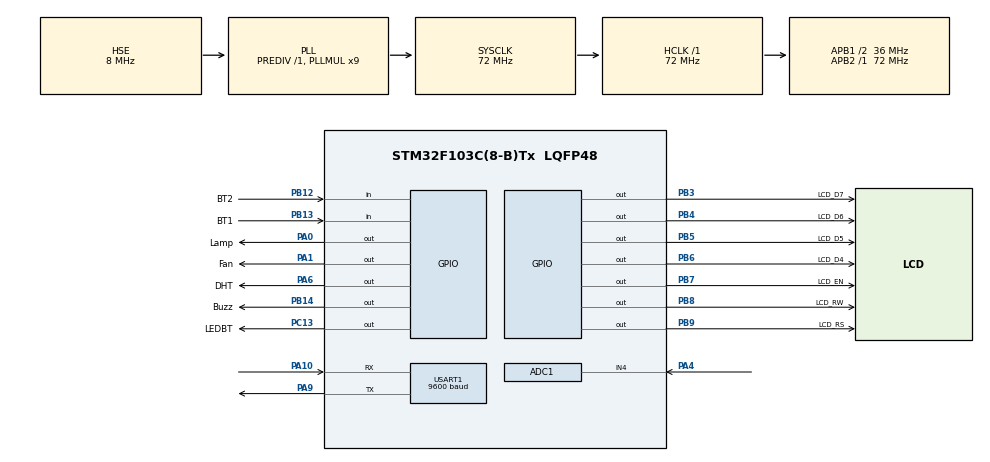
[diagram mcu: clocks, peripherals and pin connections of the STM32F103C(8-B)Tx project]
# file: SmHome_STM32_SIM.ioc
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ADC1.Channel-0\#ChannelRegularConversion=ADC_CHANNEL_4
ADC1.NbrOfConversionFlag=1
ADC1.Rank-0\#ChannelRegularConversion=1
ADC1.SamplingTime-0\#ChannelRegularConversion=ADC_SAMPLETIME_1CYCLE_5
ADC1.master=1
Mcu.Family=STM32F1
Mcu.Name=STM32F103C(8-B)Tx
Mcu.Package=LQFP48
NVIC.PriorityGroup=NVIC_PRIORITYGROUP_4
NVIC.USART1_IRQn=true\:0\:0\:false\:false\:true\:true\:true\:true
PA0-WKUP.GPIO_Label=Lamp
PA0-WKUP.Signal=GPIO_Output
PA1.GPIO_Label=Fan
PA1.Signal=GPIO_Output
PA10.Mode=Asynchronous
PA10.Signal=USART1_RX
PA13.Mode=Serial_Wire
PA13.Signal=SYS_JTMS-SWDIO
PA14.Mode=Serial_Wire
PA14.Signal=SYS_JTCK-SWCLK
PA4.Signal=ADCx_IN4
PA6.GPIO_Label=DHT
PA6.Signal=GPIO_Output
PA9.Mode=Asynchronous
PA9.Signal=USART1_TX
PB12.GPIO_Label=BT2
PB12.Signal=GPIO_Input
PB13.GPIO_Label=BT1
PB13.Signal=GPIO_Input
PB14.GPIO_Label=Buzz
PB14.Signal=GPIO_Output
PB3.GPIO_Label=LCD_D7
PB3.Signal=GPIO_Output
PB4.GPIO_Label=LCD_D6
PB4.Signal=GPIO_Output
PB5.GPIO_Label=LCD_D5
PB5.Signal=GPIO_Output
PB6.GPIO_Label=LCD_D4
PB6.Signal=GPIO_Output
PB7.GPIO_Label=LCD_EN
PB7.Signal=GPIO_Output
PB8.GPIO_Label=LCD_RW
PB8.Signal=GPIO_Output
PB9.GPIO_Label=LCD_RS
PB9.Signal=GPIO_Output
PC13-TAMPER-RTC.GPIO_Label=LEDBT
PC13-TAMPER-RTC.Signal=GPIO_Output
PD0-OSC_IN.Mode=HSE-External-Oscillator
PD0-OSC_IN.Signal=RCC_OSC_IN
PD1-OSC_OUT.Mode=HSE-External-Oscillator
PD1-OSC_OUT.Signal=RCC_OSC_OUT
ProjectManager.HeapSize=0x200
ProjectManager.StackSize=0x400
ProjectManager.TargetToolchain=MDK-ARM V5.32
RCC.ADCPresc=RCC_ADCPCLK2_DIV6
RCC.AHBFreq_Value=72000000
RCC.APB1CLKDivider=RCC_HCLK_DIV2
RCC.APB1Freq_Value=36000000
RCC.APB1TimFreq_Value=72000000
RCC.APB2Freq_Value=72000000
RCC.APB2TimFreq_Value=72000000
RCC.HCLKFreq_Value=72000000
RCC.PLLMUL=RCC_PLL_MUL9
RCC.PLLSourceVirtual=RCC_PLLSOURCE_HSE
RCC.SYSCLKFreq_VALUE=72000000
RCC.SYSCLKSource=RCC_SYSCLKSOURCE_PLLCLK
RCC.USBFreq_Value=72000000
SH.ADCx_IN4.0=ADC1_IN4,IN4
TIM3.Period=65535
TIM3.Prescaler=72
USART1.BaudRate=9600
USART1.VirtualMode=VM_ASYNC
VP_TIM3_VS_ClockSourceINT.Mode=Internal
board=custom

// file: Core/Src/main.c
/* USER CODE BEGIN Header */
/**
  ******************************************************************************
  * @file           : main.c
  * @brief          : Main program body
  ******************************************************************************
  * @attention
  *
  * Copyright (c) 2024 STMicroelectronics.
  * All rights reserved.
  *
  * This software is licensed under terms that can be found in the LICENSE file
  * in the root directory of this software component.
  * If no LICENSE file comes with this software, it is provided AS-IS.
  *
  ******************************************************************************
  */
/* USER CODE END Header */
#include "main.h"

/* USER CODE BEGIN Includes */
#include "dwt_delay.h"
#include "LCD1602.h"
#include "stdio.h"
#include "string.h"
#include "stdint.h"
#include "sim808.h"
/* USER CODE END Includes */

 ADC_HandleTypeDef hadc1;

TIM_HandleTypeDef htim3;

UART_HandleTypeDef huart1;

void SystemClock_Config(void);
static void MX_GPIO_Init(void);
static void MX_ADC1_Init(void);
static void MX_TIM3_Init(void);
static void MX_USART1_UART_Init(void);
/* USER CODE BEGIN PFP */

char str_gas[10];
char str_temp[10];
char str_humi[10];
float percentage_gas;
/* USER CODE END PFP */

/* USER CODE BEGIN 0 */

void delay (uint16_t time)
{
	/* change your code here for the delay in microseconds */
	__HAL_TIM_SET_COUNTER(&htim3, 0);
	while ((__HAL_TIM_GET_COUNTER(&htim3))<time);
}

void beep(cnt)
{
	for(int i=0;i<cnt;i++)
	{
		HAL_GPIO_WritePin(Buzz_GPIO_Port,Buzz_Pin,1);
		HAL_Delay(150);
		HAL_GPIO_WritePin(Buzz_GPIO_Port,Buzz_Pin,0);
		HAL_Delay(150);
	}
}

uint8_t Rh_byte1, Rh_byte2, Temp_byte1, Temp_byte2;
uint16_t SUM, RH, TEMP;

float Temperature = 0;
float Humidity = 0;
uint8_t Presence = 0;

void Set_Pin_Output (GPIO_TypeDef *GPIOx, uint16_t GPIO_Pin)
{
	GPIO_InitTypeDef GPIO_InitStruct = {0};
	GPIO_InitStruct.Pin = GPIO_Pin;
	GPIO_InitStruct.Mode = GPIO_MODE_OUTPUT_PP;
	GPIO_InitStruct.Speed = GPIO_SPEED_FREQ_LOW;
	HAL_GPIO_Init(GPIOx, &GPIO_InitStruct);
}

void Set_Pin_Input (GPIO_TypeDef *GPIOx, uint16_t GPIO_Pin)
{
	GPIO_InitTypeDef GPIO_InitStruct = {0};
	GPIO_InitStruct.Pin = GPIO_Pin;
	GPIO_InitStruct.Mode = GPIO_MODE_INPUT;
	GPIO_InitStruct.Pull = GPIO_PULLUP;
	HAL_GPIO_Init(GPIOx, &GPIO_InitStruct);
}

//////////////////////////////////////////////////////////////////////////////////////////////////////
//----DHT11

#define DHT11_PORT GPIOB
#define DHT11_PIN GPIO_PIN_11

void DHT11_Start (void)
{
	Set_Pin_Output (DHT11_PORT, DHT11_PIN);  // set the pin as output
	HAL_GPIO_WritePin (DHT11_PORT, DHT11_PIN, 0);   // pull the pin low
	delay (18000);   // wait for 18ms
    HAL_GPIO_WritePin (DHT11_PORT, DHT11_PIN, 1);   // pull the pin high
	delay (20);   // wait for 20us
	Set_Pin_Input(DHT11_PORT, DHT11_PIN);    // set as input
}

uint8_t DHT11_Check_Response (void)
{
	uint8_t Response = 0;
	delay (40);
	if (!(HAL_GPIO_ReadPin (DHT11_PORT, DHT11_PIN)))
	{
		delay (80);
		if ((HAL_GPIO_ReadPin (DHT11_PORT, DHT11_PIN))) Response = 1;
		else Response = -1; // 255
	}
	while ((HAL_GPIO_ReadPin (DHT11_PORT, DHT11_PIN)));   // wait for the pin to go low

	return Response;
}

uint8_t DHT11_Read (void)
{
	uint8_t i,j;
	for (j=0;j<8;j++)
	{
		while (!(HAL_GPIO_ReadPin (DHT11_PORT, DHT11_PIN)));   // wait for the pin to go high
		delay (40);   // wait for 40 us
		if (!(HAL_GPIO_ReadPin (DHT11_PORT, DHT11_PIN)))   // if the pin is low
		{
			i&= ~(1<<(7-j));   // write 0
		}
		else i|= (1<<(7-j));  // if the pin is high, write 1
		while ((HAL_GPIO_ReadPin (DHT11_PORT, DHT11_PIN)));  // wait for the pin to go low
	}
	return i;
}
//////////////////////////////////////////////////////////////////////////////////////////////////////
//----DHT22

#define DHT22_PORT GPIOB
#define DHT22_PIN GPIO_PIN_11

void DHT22_Start (void)
{
	Set_Pin_Output(DHT22_PORT, DHT22_PIN); // set the pin as output
	HAL_GPIO_WritePin (DHT22_PORT, DHT22_PIN, 0);   // pull the pin low
	delay(1200);   // wait for > 1ms

	HAL_GPIO_WritePin (DHT22_PORT, DHT22_PIN, 1);   // pull the pin high
	delay (20);   // wait for 30us

	Set_Pin_Input(DHT22_PORT, DHT22_PIN);   // set as input
}

uint8_t DHT22_Check_Response (void)
{
	Set_Pin_Input(DHT22_PORT, DHT22_PIN);   // set as input
	uint8_t Response = 0;
	delay (40);  // wait for 40us
	if (!(HAL_GPIO_ReadPin (DHT22_PORT, DHT22_PIN))) // if the pin is low
	{
		delay (80);   // wait for 80us

		if ((HAL_GPIO_ReadPin (DHT22_PORT, DHT22_PIN))) Response = 1;  // if the pin is high, response is ok
		else Response = -1;
	}

	while ((HAL_GPIO_ReadPin (DHT22_PORT, DHT22_PIN)));   // wait for the pin to go low
	return Response;
}

uint8_t DHT22_Read (void)
{
	uint8_t i,j;
	for (j=0;j<8;j++)
	{
		while (!(HAL_GPIO_ReadPin (DHT22_PORT, DHT22_PIN)));   // wait for the pin to go high
		delay (40);   // wait for 40 us

		if (!(HAL_GPIO_ReadPin (DHT22_PORT, DHT22_PIN)))   // if the pin is low
		{
			i&= ~(1<<(7-j));   // write 0
		}
		else i|= (1<<(7-j));  // if the pin is high, write 1
		while ((HAL_GPIO_ReadPin (DHT22_PORT, DHT22_PIN)));  // wait for the pin to go low
	}

	return i;
}
//////////////////////

/* USER CODE END 0 */

int main(void)
{

  /* MCU Configuration--------------------------------------------------------*/

  /* Reset of all peripherals, Initializes the Flash interface and the Systick. */
  HAL_Init();

  /* Configure the system clock */
  SystemClock_Config();

  /* Initialize all configured peripherals */
  MX_GPIO_Init();
  MX_ADC1_Init();
  MX_TIM3_Init();
  MX_USART1_UART_Init();
  /* USER CODE BEGIN 2 */
	DWT_Init();
	lcd_init();
	lcd_put_cur(0, 5);
	lcd_send_string("Hello");
	HAL_Delay(3000);
	lcd_clear();
	beep(2);

  /* USER CODE END 2 */

  /* Infinite loop */
  /* USER CODE BEGIN WHILE */

	HAL_TIM_Base_Start(&htim3);

	int cnt_sms=0;
	int notify = 1;
	lcd_put_cur(1, 12);
	lcd_send_string("Noti");
  while (1)
  {
		if(HAL_GPIO_ReadPin(BT1_GPIO_Port,BT1_Pin)==0)
		{
			while(HAL_GPIO_ReadPin(BT1_GPIO_Port,BT1_Pin)==0);
			notify = ! notify;
			beep(1);
			if(notify)
			{
				lcd_put_cur(1, 12);
				lcd_send_string("Noti");
			}
			else
			{
				lcd_put_cur(1, 12);
				lcd_send_string("      ");
			}
		}
		if(HAL_GPIO_ReadPin(BT2_GPIO_Port,BT2_Pin)==0)
		{
			while(HAL_GPIO_ReadPin(BT1_GPIO_Port,BT1_Pin)==0);
			beep(1);
			NVIC_SystemReset();
		}

		HAL_GPIO_TogglePin(LEDBT_GPIO_Port,LEDBT_Pin);

		HAL_ADC_Start(&hadc1);
		HAL_ADC_PollForConversion(&hadc1, HAL_MAX_DELAY);
		uint16_t adc_value = HAL_ADC_GetValue(&hadc1);
		percentage_gas = (adc_value / 4095.0) * 100.0;
		HAL_ADC_Stop(&hadc1);
		lcd_put_cur(1, 0);
		sprintf((char *)str_gas,"Gas:%.0f", percentage_gas);
		lcd_send_string((char*)str_gas);
		lcd_send_string("% ");

		if(percentage_gas > 41 && cnt_sms==0 && notify == 1)
		{
			HAL_GPIO_WritePin(Buzz_GPIO_Port,Buzz_Pin,1);
			HAL_GPIO_WritePin(Lamp_GPIO_Port,Lamp_Pin,1);
			HAL_GPIO_WritePin(Fan_GPIO_Port,Fan_Pin,1);

			SIM808_SendSMS(&huart1, "0961548172", "SOS ! ro ri khi Gas");
			cnt_sms ++;
			HAL_Delay(1000);

			if(HAL_GPIO_ReadPin(BT1_GPIO_Port,BT1_Pin) == 0)
			{
				while(HAL_GPIO_ReadPin(BT1_GPIO_Port,BT1_Pin)==0);
				notify = ! notify;
				beep(1);
				if(notify)
				{
					lcd_put_cur(1, 12);
					lcd_send_string("Noti");
				}
				else
				{
					lcd_put_cur(1, 12);
					lcd_send_string("      ");
				}
			}
			if(HAL_GPIO_ReadPin(BT2_GPIO_Port,BT2_Pin)==0)
			{
				while(HAL_GPIO_ReadPin(BT1_GPIO_Port,BT1_Pin)==0);
				beep(1);
				NVIC_SystemReset();
			}
		}
		else
		{
			HAL_GPIO_WritePin(Buzz_GPIO_Port,Buzz_Pin,0);
			HAL_GPIO_WritePin(Lamp_GPIO_Port,Lamp_Pin,0);
			HAL_GPIO_WritePin(Fan_GPIO_Port,Fan_Pin,0);
			if(HAL_GPIO_ReadPin(BT1_GPIO_Port,BT1_Pin) == 0)
			{
				while(HAL_GPIO_ReadPin(BT1_GPIO_Port,BT1_Pin)==0);
				notify = ! notify;
				beep(1);
				if(notify)
				{
					lcd_put_cur(1, 12);
					lcd_send_string("Noti");
				}
				else
				{
					lcd_put_cur(1, 12);
					lcd_send_string("      ");
				}
			}
			if(HAL_GPIO_ReadPin(BT2_GPIO_Port,BT2_Pin)==0)
			{
				while(HAL_GPIO_ReadPin(BT1_GPIO_Port,BT1_Pin)==0);
				beep(1);
				NVIC_SystemReset();
			}

		}

		//-----DHT22
//		DHT22_Start();
//	  Presence = DHT22_Check_Response();
//	  Rh_byte1 = DHT22_Read ();
//      Rh_byte2 = DHT22_Read ();
//	  Temp_byte1 = DHT22_Read ();
//	  Temp_byte2 = DHT22_Read ();
//	  SUM = DHT22_Read();
//	  TEMP = ((Temp_byte1<<8)|Temp_byte2);
//	  RH = ((Rh_byte1<<8)|Rh_byte2);
//	  Temperature = (float) (TEMP/10.0);
//	  Humidity = (float) (RH/10.0);
		//
		DHT11_Start();
	  Presence = DHT11_Check_Response();
	  Rh_byte1 = DHT11_Read ();
	  Rh_byte2 = DHT11_Read ();
	  Temp_byte1 = DHT11_Read ();
	  Temp_byte2 = DHT11_Read ();
	  SUM = DHT11_Read();
	  TEMP = Temp_byte1;
	  RH = Rh_byte1;
	  Temperature = (float) TEMP;
	  Humidity = (float) RH;
		//
		lcd_put_cur(0, 0);
		sprintf((char *)str_temp,"T=%.0f", Temperature);
		lcd_send_string((char*)str_temp);
		lcd_send_string("C  ");

		sprintf((char *)str_humi,"H=%.0f", Humidity);
		lcd_send_string((char*)str_humi);
		lcd_send_string("%  ");
//-----------------------------

		HAL_Delay(2000);
		cnt_sms = 0;

    /* USER CODE END WHILE */

  }
}

void SystemClock_Config(void)
{
  RCC_OscInitTypeDef RCC_OscInitStruct = {0};
  RCC_ClkInitTypeDef RCC_ClkInitStruct = {0};
  RCC_PeriphCLKInitTypeDef PeriphClkInit = {0};

  /** Initializes the RCC Oscillators according to the specified parameters
  * in the RCC_OscInitTypeDef structure.
  */
  RCC_OscInitStruct.OscillatorType = RCC_OSCILLATORTYPE_HSE;
  RCC_OscInitStruct.HSEState = RCC_HSE_ON;
  RCC_OscInitStruct.HSEPredivValue = RCC_HSE_PREDIV_DIV1;
  RCC_OscInitStruct.HSIState = RCC_HSI_ON;
  RCC_OscInitStruct.PLL.PLLState = RCC_PLL_ON;
  RCC_OscInitStruct.PLL.PLLSource = RCC_PLLSOURCE_HSE;
  RCC_OscInitStruct.PLL.PLLMUL = RCC_PLL_MUL9;
  if (HAL_RCC_OscConfig(&RCC_OscInitStruct) != HAL_OK)
  {
    Error_Handler();
  }

  /** Initializes the CPU, AHB and APB buses clocks
  */
  RCC_ClkInitStruct.ClockType = RCC_CLOCKTYPE_HCLK|RCC_CLOCKTYPE_SYSCLK
                              |RCC_CLOCKTYPE_PCLK1|RCC_CLOCKTYPE_PCLK2;
  RCC_ClkInitStruct.SYSCLKSource = RCC_SYSCLKSOURCE_PLLCLK;
  RCC_ClkInitStruct.AHBCLKDivider = RCC_SYSCLK_DIV1;
  RCC_ClkInitStruct.APB1CLKDivider = RCC_HCLK_DIV2;
  RCC_ClkInitStruct.APB2CLKDivider = RCC_HCLK_DIV1;

  if (HAL_RCC_ClockConfig(&RCC_ClkInitStruct, FLASH_LATENCY_2) != HAL_OK)
  {
    Error_Handler();
  }
  PeriphClkInit.PeriphClockSelection = RCC_PERIPHCLK_ADC;
  PeriphClkInit.AdcClockSelection = RCC_ADCPCLK2_DIV6;
  if (HAL_RCCEx_PeriphCLKConfig(&PeriphClkInit) != HAL_OK)
  {
    Error_Handler();
  }
}

static void MX_ADC1_Init(void)
{

  ADC_ChannelConfTypeDef sConfig = {0};

  /** Common config
  */
  hadc1.Instance = ADC1;
  hadc1.Init.ScanConvMode = ADC_SCAN_DISABLE;
  hadc1.Init.ContinuousConvMode = DISABLE;
  hadc1.Init.DiscontinuousConvMode = DISABLE;
  hadc1.Init.ExternalTrigConv = ADC_SOFTWARE_START;
  hadc1.Init.DataAlign = ADC_DATAALIGN_RIGHT;
  hadc1.Init.NbrOfConversion = 1;
  if (HAL_ADC_Init(&hadc1) != HAL_OK)
  {
    Error_Handler();
  }

  /** Configure Regular Channel
  */
  sConfig.Channel = ADC_CHANNEL_4;
  sConfig.Rank = ADC_REGULAR_RANK_1;
  sConfig.SamplingTime = ADC_SAMPLETIME_1CYCLE_5;
  if (HAL_ADC_ConfigChannel(&hadc1, &sConfig) != HAL_OK)
  {
    Error_Handler();
  }

}

static void MX_TIM3_Init(void)
{

  TIM_ClockConfigTypeDef sClockSourceConfig = {0};
  TIM_MasterConfigTypeDef sMasterConfig = {0};

  htim3.Instance = TIM3;
  htim3.Init.Prescaler = 72;
  htim3.Init.CounterMode = TIM_COUNTERMODE_UP;
  htim3.Init.Period = 65535;
  htim3.Init.ClockDivision = TIM_CLOCKDIVISION_DIV1;
  htim3.Init.AutoReloadPreload = TIM_AUTORELOAD_PRELOAD_DISABLE;
  if (HAL_TIM_Base_Init(&htim3) != HAL_OK)
  {
    Error_Handler();
  }
  sClockSourceConfig.ClockSource = TIM_CLOCKSOURCE_INTERNAL;
  if (HAL_TIM_ConfigClockSource(&htim3, &sClockSourceConfig) != HAL_OK)
  {
    Error_Handler();
  }
  sMasterConfig.MasterOutputTrigger = TIM_TRGO_RESET;
  sMasterConfig.MasterSlaveMode = TIM_MASTERSLAVEMODE_DISABLE;
  if (HAL_TIMEx_MasterConfigSynchronization(&htim3, &sMasterConfig) != HAL_OK)
  {
    Error_Handler();
  }

}

static void MX_USART1_UART_Init(void)
{

  huart1.Instance = USART1;
  huart1.Init.BaudRate = 9600;
  huart1.Init.WordLength = UART_WORDLENGTH_8B;
  huart1.Init.StopBits = UART_STOPBITS_1;
  huart1.Init.Parity = UART_PARITY_NONE;
  huart1.Init.Mode = UART_MODE_TX_RX;
  huart1.Init.HwFlowCtl = UART_HWCONTROL_NONE;
  huart1.Init.OverSampling = UART_OVERSAMPLING_16;
  if (HAL_UART_Init(&huart1) != HAL_OK)
  {
    Error_Handler();
  }

}

static void MX_GPIO_Init(void)
{
  GPIO_InitTypeDef GPIO_InitStruct = {0};

  /* GPIO Ports Clock Enable */
  __HAL_RCC_GPIOC_CLK_ENABLE();
  __HAL_RCC_GPIOD_CLK_ENABLE();
  __HAL_RCC_GPIOA_CLK_ENABLE();
  __HAL_RCC_GPIOB_CLK_ENABLE();

  /*Configure GPIO pin Output Level */
  HAL_GPIO_WritePin(LEDBT_GPIO_Port, LEDBT_Pin, GPIO_PIN_RESET);

  /*Configure GPIO pin Output Level */
  HAL_GPIO_WritePin(GPIOA, Lamp_Pin|Fan_Pin|DHT_Pin, GPIO_PIN_RESET);

  /*Configure GPIO pin Output Level */
  HAL_GPIO_WritePin(GPIOB, Buzz_Pin|LCD_D7_Pin|LCD_D6_Pin|LCD_D5_Pin
                          |LCD_D4_Pin|LCD_EN_Pin|LCD_RW_Pin|LCD_RS_Pin, GPIO_PIN_RESET);

  /*Configure GPIO pin : LEDBT_Pin */
  GPIO_InitStruct.Pin = LEDBT_Pin;
  GPIO_InitStruct.Mode = GPIO_MODE_OUTPUT_PP;
  GPIO_InitStruct.Pull = GPIO_NOPULL;
  GPIO_InitStruct.Speed = GPIO_SPEED_FREQ_LOW;
  HAL_GPIO_Init(LEDBT_GPIO_Port, &GPIO_InitStruct);

  /*Configure GPIO pins : Lamp_Pin Fan_Pin DHT_Pin */
  GPIO_InitStruct.Pin = Lamp_Pin|Fan_Pin|DHT_Pin;
  GPIO_InitStruct.Mode = GPIO_MODE_OUTPUT_PP;
  GPIO_InitStruct.Pull = GPIO_NOPULL;
  GPIO_InitStruct.Speed = GPIO_SPEED_FREQ_LOW;
  HAL_GPIO_Init(GPIOA, &GPIO_InitStruct);

  /*Configure GPIO pins : BT2_Pin BT1_Pin */
  GPIO_InitStruct.Pin = BT2_Pin|BT1_Pin;
  GPIO_InitStruct.Mode = GPIO_MODE_INPUT;
  GPIO_InitStruct.Pull = GPIO_NOPULL;
  HAL_GPIO_Init(GPIOB, &GPIO_InitStruct);

  /*Configure GPIO pins : Buzz_Pin LCD_D7_Pin LCD_D6_Pin LCD_D5_Pin
                           LCD_D4_Pin LCD_EN_Pin LCD_RW_Pin LCD_RS_Pin */
  GPIO_InitStruct.Pin = Buzz_Pin|LCD_D7_Pin|LCD_D6_Pin|LCD_D5_Pin
                          |LCD_D4_Pin|LCD_EN_Pin|LCD_RW_Pin|LCD_RS_Pin;
  GPIO_InitStruct.Mode = GPIO_MODE_OUTPUT_PP;
  GPIO_InitStruct.Pull = GPIO_NOPULL;
  GPIO_InitStruct.Speed = GPIO_SPEED_FREQ_LOW;
  HAL_GPIO_Init(GPIOB, &GPIO_InitStruct);

}

void Error_Handler(void)
{
  __disable_irq();
  while (1)
  {
  }
}
